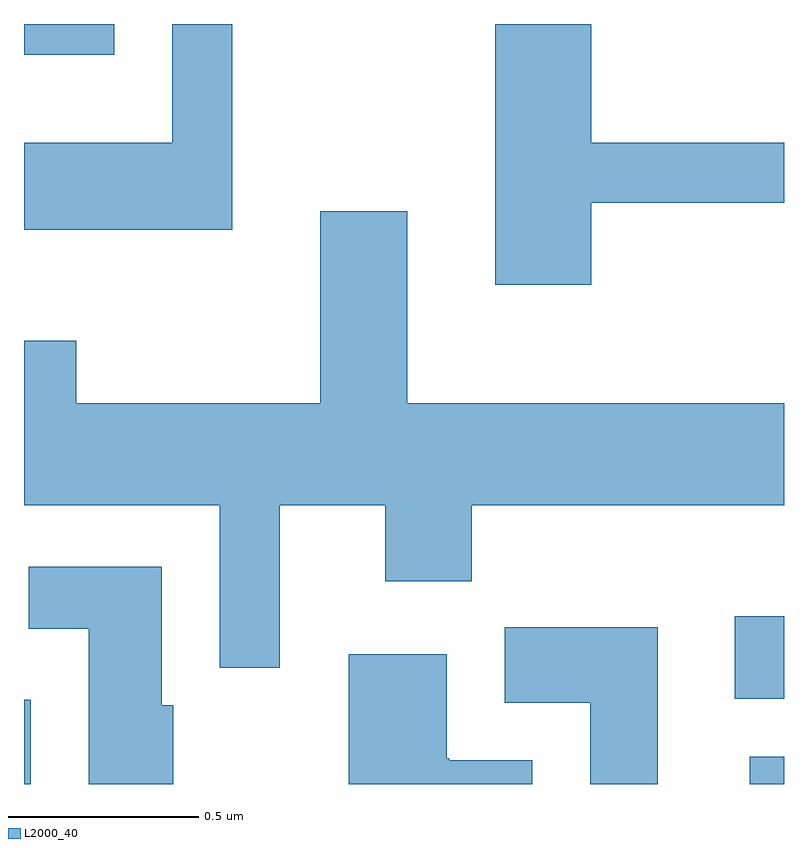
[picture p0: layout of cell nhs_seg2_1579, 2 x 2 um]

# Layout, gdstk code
import gdstk
lib = gdstk.Library(unit=1e-6, precision=1e-09)
def R(c, l, rs):  # rectangles x0, y0, x1, y1
    for r in rs: c.add(gdstk.rectangle(r[:2], r[2:], *l))
def P(c, l, *ps):  # polygons
    for p in ps: c.add(gdstk.Polygon(p, *l))
L2000_40 = (2000, 40)

nhs_seg2_1579 = lib.new_cell('nhs_seg2_1579')
R(nhs_seg2_1579, L2000_40, [(196.611,1049.802,196.629,1050.024), (198.521,1049.802,198.611,1049.874), (198.481,1050.026,198.611,1050.244), (196.611,1051.721,196.849,1051.802)])
P(nhs_seg2_1579, L2000_40, [(198.104,1051.331),(198.611,1051.331),(198.611,1051.489),(198.104,1051.489),(198.104,1051.802),(197.851,1051.802),(197.851,1051.116),(198.104,1051.116)],
  [(197.159,1051.802),(197.001,1051.802),(197.001,1051.489),(196.611,1051.489),(196.611,1051.261),(197.159,1051.261)],
  [(197.284,1050.536),(197.561,1050.536),(197.561,1050.336),(197.789,1050.336),(197.789,1050.536),(198.611,1050.536),(198.611,1050.804),(197.619,1050.804),(197.619,1051.309),(197.391,1051.309),(197.391,1050.804),(196.749,1050.804),(196.749,1050.969),(196.611,1050.969),(196.611,1050.536),(197.126,1050.536),(197.126,1050.108),(197.284,1050.108)],
  [(197.004,1050.009),(196.974,1050.009),(196.974,1050.374),(196.623,1050.374),(196.623,1050.211),(196.781,1050.211),(196.781,1049.802),(197.004,1049.802)],
  [(198.279,1050.214),(197.876,1050.214),(197.876,1050.016),(198.101,1050.016),(198.101,1049.802),(198.279,1049.802)],
  [(197.949,1049.864),(197.73,1049.864),(197.73,1049.87),(197.724,1049.87),(197.724,1050.144),(197.466,1050.144),(197.466,1049.802),(197.949,1049.802)])

lib.write_gds('nhs_seg2_1579.gds')
